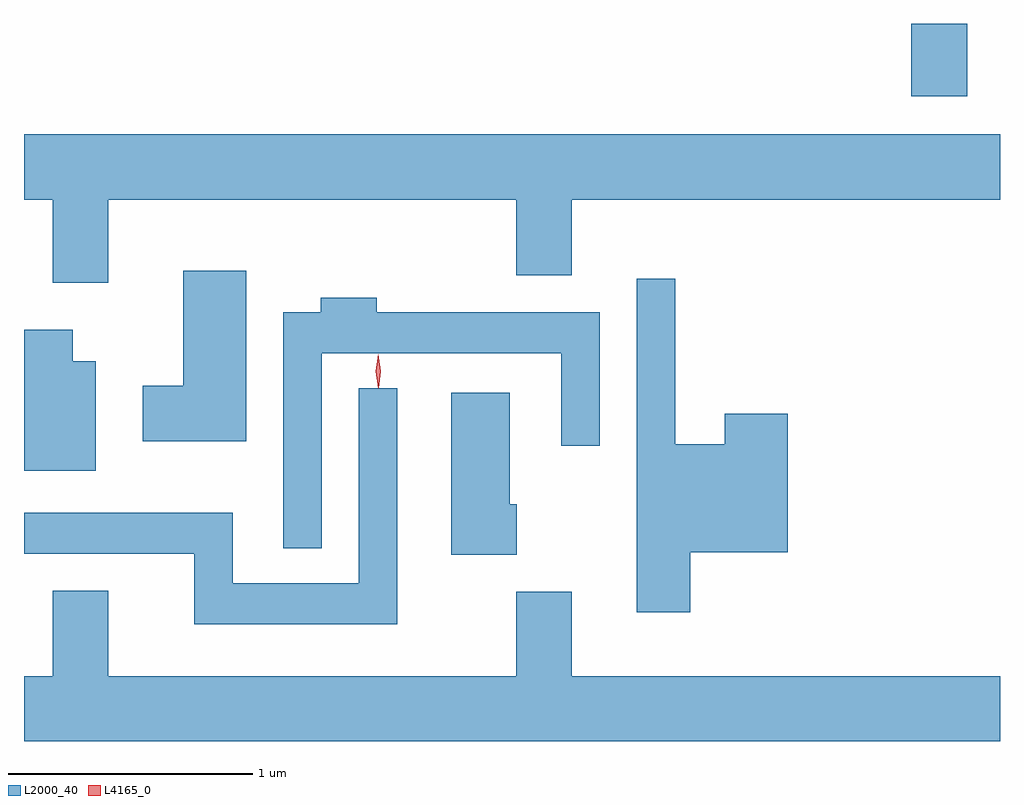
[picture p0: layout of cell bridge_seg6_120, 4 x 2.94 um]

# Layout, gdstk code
import gdstk
lib = gdstk.Library(unit=1e-6, precision=1e-09)
def R(c, l, rs):  # rectangles x0, y0, x1, y1
    for r in rs: c.add(gdstk.rectangle(r[:2], r[2:], *l))
def P(c, l, *ps):  # polygons
    for p in ps: c.add(gdstk.Polygon(p, *l))
L2000_40 = (2000, 40)
L4165_0 = (4165, 0)

bridge_seg6_120 = lib.new_cell('bridge_seg6_120')
R(bridge_seg6_120, L2000_40, [(1203.931,1605.961,1204.159,1606.258)])
P(bridge_seg6_120, L2000_40, [(1200.639,1605.536),(1202.311,1605.536),(1202.311,1605.226),(1202.539,1605.226),(1202.539,1605.536),(1204.294,1605.536),(1204.294,1605.804),(1200.294,1605.804),(1200.294,1605.536),(1200.411,1605.536),(1200.411,1605.196),(1200.639,1605.196)],
  [(1201.204,1605.244),(1200.946,1605.244),(1200.946,1604.774),(1200.781,1604.774),(1200.781,1604.546),(1201.204,1604.546)],
  [(1203.024,1604.091),(1203.424,1604.091),(1203.424,1604.659),(1203.166,1604.659),(1203.166,1604.534),(1202.964,1604.534),(1202.964,1605.213),(1202.806,1605.213),(1202.806,1603.846),(1203.024,1603.846)],
  [(1201.514,1604.906),(1202.496,1604.906),(1202.496,1604.528),(1202.654,1604.528),(1202.654,1605.074),(1201.739,1605.074),(1201.739,1605.134),(1201.511,1605.134),(1201.511,1605.074),(1201.356,1605.074),(1201.356,1604.108),(1201.514,1604.108)],
  [(1200.589,1604.874),(1200.494,1604.874),(1200.494,1605.004),(1200.294,1605.004),(1200.294,1604.426),(1200.589,1604.426)],
  [(1201.824,1604.763),(1201.666,1604.763),(1201.666,1603.964),(1201.149,1603.964),(1201.149,1604.254),(1200.294,1604.254),(1200.294,1604.086),(1200.991,1604.086),(1200.991,1603.796),(1201.824,1603.796)],
  [(1202.314,1604.289),(1202.284,1604.289),(1202.284,1604.744),(1202.046,1604.744),(1202.046,1604.081),(1202.314,1604.081)],
  [(1204.294,1603.584),(1202.539,1603.584),(1202.539,1603.929),(1202.311,1603.929),(1202.311,1603.584),(1200.639,1603.584),(1200.639,1603.934),(1200.411,1603.934),(1200.411,1603.584),(1200.294,1603.584),(1200.294,1603.316),(1204.294,1603.316)])
P(bridge_seg6_120, L4165_0, [(1201.746,1604.764),(1201.746,1604.764),(1201.736,1604.833),(1201.745,1604.902),(1201.746,1604.903),(1201.746,1604.902),(1201.756,1604.833),(1201.747,1604.764)])

lib.write_gds('bridge_seg6_120.gds')
